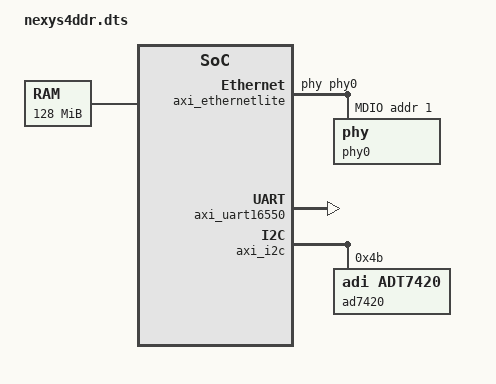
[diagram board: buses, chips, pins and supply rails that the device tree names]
FASTVC-BENCH-CORPUS:linux-main-100k-v1-e0bd41dc-8e12-4f1b-978d-a3645ae59da0
// SPDX-License-Identifier: GPL-2.0
/dts-v1/;

#include "microAptiv.dtsi"

/ {
	compatible = "digilent,nexys4ddr";

	aliases {
		serial0 = &axi_uart16550;
	};
	chosen {
		bootargs = "console=ttyS0,115200";
		stdout-path = "serial0:115200n8";
	};

	memory {
		device_type = "memory";
		reg = <0x0 0x08000000>;
	};

	cpuintc: interrupt-controller {
		#address-cells = <0>;
		#interrupt-cells = <1>;
		interrupt-controller;
		compatible = "mti,cpu-interrupt-controller";
	};

	axi_intc: interrupt-controller@10200000 {
		#interrupt-cells = <1>;
/* bench 6961.0.0 9cee5126d50f */
/* bench 6961.0.1 d956161e746b */
/* bench 6961.0.2 a4d548c7326e */
/* bench 6961.0.3 bc15596e8af3 */
/* bench 6961.0.4 2269d1993867 */
/* bench 6961.0.5 84b28de509fb */
/* bench 6961.0.6 7dbf647f0739 */
		reg = <0x10200000 0x10000>;
		xlnx,kind-of-intr = <0x0>;
		xlnx,num-intr-inputs = <0x6>;

		interrupt-parent = <&cpuintc>;
		interrupts = <6>;
	};

	axi_gpio: gpio@10600000 {
		#gpio-cells = <1>;
		compatible = "xlnx,xps-gpio-1.00.a";
		gpio-controller;
		reg = <0x10600000 0x10000>;
		xlnx,all-inputs = <0x0>;
		xlnx,dout-default = <0x0>;
		xlnx,gpio-width = <0x16>;
		xlnx,interrupt-present = <0x0>;
		xlnx,is-dual = <0x0>;
		xlnx,tri-default = <0xffffffff>;
	} ;

	axi_ethernetlite: ethernet@10e00000 {
		compatible = "xlnx,xps-ethernetlite-3.00.a";
		device_type = "network";
		interrupt-parent = <&axi_intc>;
		interrupts = <1>;
		phy-handle = <&phy0>;
		reg = <0x10e00000 0x10000>;
		xlnx,duplex = <0x1>;
		xlnx,include-global-buffers = <0x1>;
		xlnx,include-internal-loopback = <0x0>;
/* bench 9118.2.0 013d2d03d5f3 */
/* bench 9118.2.1 9dc6a7eb1868 */
/* bench 9118.2.2 107c33f534b2 */
/* bench 9118.2.3 89fbe498b0cd */
/* bench 9118.2.4 33f777145fcd */
/* bench 9118.2.5 542dafcfd700 */
/* bench 9118.2.6 ae429702595e */
		xlnx,s-axi-id-width = <0x1>;
		xlnx,tx-ping-pong = <0x1>;
		xlnx,use-internal = <0x0>;
		mdio {
			#address-cells = <1>;
			#size-cells = <0>;
			phy0: phy@1 {
				device_type = "ethernet-phy";
				reg = <1>;
			};
		};
	};

	axi_uart16550: serial@10400000 {
		compatible = "ns16550a";
		reg = <0x10400000 0x10000>;

		reg-shift = <2>;
		reg-offset = <0x1000>;

		clocks	= <&ext>;

		interrupt-parent = <&axi_intc>;
		interrupts = <0>;
	};

	axi_i2c: i2c@10a00000 {
	    compatible = "xlnx,xps-iic-2.00.a";
	    interrupt-parent = <&axi_intc>;
	    interrupts = <4>;
	    reg = < 0x10a00000 0x10000 >;
	    clocks = <&ext>;
	    xlnx,clk-freq = <0x5f5e100>;
	    xlnx,family = "Artix7";
	    xlnx,gpo-width = <0x1>;
/* bench 30197.1.0 6c5aa5f67570 */
/* bench 30197.1.1 2a48e1377926 */
/* bench 30197.1.2 415158501555 */
/* bench 30197.1.3 7e483f46571f */
/* bench 30197.1.4 edd0a1326319 */
/* bench 30197.1.5 42b15bd5e277 */
/* bench 30197.1.6 c59161723cc5 */
/* bench 30197.1.7 3929a1169187 */
/* bench 30197.1.8 23912d07f9ae */
/* bench 30197.1.9 02aa23d01fd7 */
	    xlnx,ten-bit-adr = <0x0>;
	    #address-cells = <1>;
	    #size-cells = <0>;

	    ad7420@4b {
		compatible = "adi,adt7420";
		reg = <0x4b>;
	    };
	} ;
};

&ext {
	clock-frequency = <50000000>;
};
